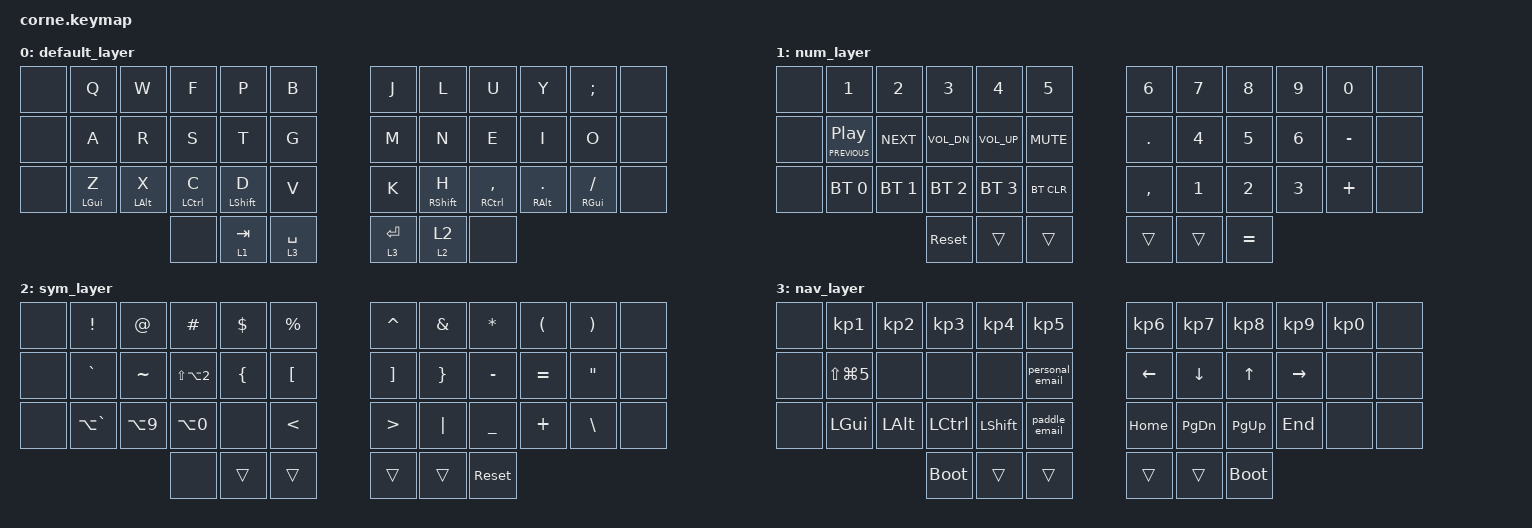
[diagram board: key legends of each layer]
/*
 * Copyright (c) 2020 The ZMK Contributors
 *
 * SPDX-License-Identifier: MIT
 */

#include <behaviors.dtsi>
#include <dt-bindings/zmk/bt.h>
#include <dt-bindings/zmk/keys.h>

&lt {
    quick-tap-ms = <200>;
    tapping-term-ms = <170>;
};

&caps_word {
};

/ {
    combos {
        compatible = "zmk,combos";

        combo_esc {
            bindings = <&kp ESCAPE>;
            key-positions = <15 14>;
            timeout-ms = <30>;
            layers = <0>;
        };

        combo_caps {
            bindings = <&kp CAPS>;
            key-positions = <28 31>;
            timeout-ms = <30>;
            layers = <0>;
        };

        combo_sqt {
            bindings = <&kp SQT>;
            key-positions = <8 7>;
            timeout-ms = <30>;
            layers = <0>;
        };

        combo_colon {
            bindings = <&kp COLON>;
            key-positions = <9 8>;
            timeout-ms = <30>;
            layers = <0>;
        };

        combo_caps_word {
            bindings = <&caps_word>;
            key-positions = <16 19>;
            timeout-ms = <30>;
        };

        combo_delete_word {
            bindings = <&kp LA(BACKSPACE)>;
            key-positions = <32 33>;
            timeout-ms = <30>;
        };

        combo_delete {
            bindings = <&kp DELETE>;
            key-positions = <34 33>;
            timeout-ms = <30>;
        };

        reset_layer {
            bindings = <&to 0>;
            key-positions = <14 15>;
            layers = <1 2 3>;
            timeout-ms = <30>;
        };

        combo_delete_line {
            bindings = <&kp LG(BACKSPACE)>;
            key-positions = <31 32>;
        };

        combo_backspace {
            bindings = <&kp BACKSPACE>;
            key-positions = <20 21>;
            timeout-ms = <30>;
        };

        combo_tab {
            bindings = <&kp TAB>;
            key-positions = <2 3>;
            timeout-ms = <30>;
        };
    };

    behaviors {
        brm: balanced_homerow_mods {
            compatible = "zmk,behavior-hold-tap";
            #binding-cells = <2>;
            tapping-term-ms = <170>;    // <---[[moderate duration]]
            quick-tap-ms = <200>;
            flavor = "balanced";
            bindings = <&kp>, <&kp>;
        };

        mo_tog: behavior_mo_tog {
            compatible = "zmk,behavior-hold-tap";
            label = "MO_TOG";
            bindings = <&mo>, <&tog>;

            #binding-cells = <2>;
            tapping-term-ms = <200>;
        };

        tog_sl: behavior_hold_tap {
            compatible = "zmk,behavior-hold-tap";
            label = "TOG_SL";
            bindings = <&tog>, <&sl>;

            #binding-cells = <2>;
            tapping-term-ms = <200>;
        };

        mo_sl: behavior_mo_sl {
            compatible = "zmk,behavior-hold-tap";
            label = "MO_SL";
            bindings = <&mo>, <&sl>;

            #binding-cells = <2>;
            tapping-term-ms = <200>;
            flavor = "tap-preferred";
        };
    };

    macros {
        personal_email: personal_email {
            compatible = "zmk,behavior-macro";
            #binding-cells = <0>;
            bindings = <&kp A &kp F &kp O &kp N &kp S &kp O &kp C &kp R &kp A &kp P &kp O &kp S &kp O &kp AT &kp G &kp M &kp A &kp I &kp L &kp DOT &kp C &kp O &kp M>;
            label = "PERSONAL_EMAIL";
        };

        paddle_email: paddle_email {
            compatible = "zmk,behavior-macro";
            #binding-cells = <0>;
            bindings = <&kp A &kp F &kp O &kp N &kp S &kp O &kp DOT &kp R &kp A &kp P &kp O &kp S &kp O &kp AT &kp P &kp A &kp D &kp D &kp L &kp E &kp DOT &kp C &kp O &kp M>;
            label = "PADDLE_EMAIL";
        };
    };

    keymap {
        compatible = "zmk,keymap";

        default_layer {
            // -----------------------------------------------------------------------------------------
            // |  TAB |  Q  |  W  |  E  |  R  |  T  |   |  Y  |  U   |  I  |  O  |  P  | BKSP |
            // | CTRL |  A  |  S  |  D  |  F  |  G  |   |  H  |  J   |  K  |  L  |  ;  |  '   |
            // | SHFT |  Z  |  X  |  C  |  V  |  B  |   |  N  |  M   |  ,  |  .  |  /  | ESC  |
            //                    | GUI | LWR | SPC |   | ENT | RSE  | ALT |

            bindings = <
&none  &kp Q            &kp W            &kp F                &kp P              &kp B          &kp J        &kp L               &kp U             &kp Y               &kp SEMICOLON         &none
&none  &kp A            &kp R            &kp S                &kp T              &kp G          &kp M        &kp N               &kp E             &kp I               &kp O                 &none
&none  &brm LEFT_GUI Z  &brm LEFT_ALT X  &brm LEFT_CONTROL C  &brm LEFT_SHIFT D  &kp V          &kp K        &brm RIGHT_SHIFT H  &brm RCTRL COMMA  &brm RIGHT_ALT DOT  &brm RIGHT_GUI SLASH  &none
                                         &none                &lt 1 TAB          &lt 3 SPACE    &lt 3 ENTER  &mo_sl 2 2          &none
            >;
        };

        num_layer {
            // -----------------------------------------------------------------------------------------
            // |  TAB |  1  |  2  |  3  |  4  |  5  |   |  6  |  7  |  8  |  9  |  0  | BKSP |
            // | BTCLR| BT1 | BT2 | BT3 | BT4 | BT5 |   | LFT | DWN |  UP | RGT |     |      |
            // | SHFT |     |     |     |     |     |   |     |     |     |     |     |      |
            //                    | GUI |     | SPC |   | ENT |     | ALT |

            bindings = <
&none  &kp N1                       &kp N2        &kp N3        &kp N4        &kp N5        &kp N6     &kp N7        &kp N8        &kp N9        &kp N0     &none
&none  &mt C_PREVIOUS C_PLAY_PAUSE  &kp C_NEXT    &kp C_VOL_DN  &kp C_VOL_UP  &kp K_MUTE    &kp DOT    &kp NUMBER_4  &kp N5        &kp NUMBER_6  &kp MINUS  &none
&none  &bt BT_SEL 0                 &bt BT_SEL 1  &bt BT_SEL 2  &bt BT_SEL 3  &bt BT_CLR    &kp COMMA  &kp NUMBER_1  &kp NUMBER_2  &kp NUMBER_3  &kp PLUS   &none
                                                  &sys_reset    &trans        &trans        &trans     &trans        &kp EQUAL
            >;
        };

        sym_layer {
            // -----------------------------------------------------------------------------------------
            // |  TAB |  !  |  @  |  #  |  $  |  %  |   |  ^  |  &  |  *  |  (  |  )  | BKSP |
            // | CTRL |     |     |     |     |     |   |  -  |  =  |  [  |  ]  |  \  |  `   |
            // | SHFT |     |     |     |     |     |   |  _  |  +  |  {  |  }  | "|" |  ~   |
            //                    | GUI |     | SPC |   | ENT |     | ALT |

            bindings = <
&none  &kp EXCL       &kp AT            &kp HASH              &kp DLLR        &kp PRCNT           &kp CARET          &kp AMPS         &kp ASTRK       &kp LPAR   &kp RPAR           &none
&none  &kp GRAVE      &kp TILDE         &kp LS(LA(NUMBER_2))  &kp LEFT_BRACE  &kp LEFT_BRACKET    &kp RIGHT_BRACKET  &kp RIGHT_BRACE  &kp MINUS       &kp EQUAL  &kp DOUBLE_QUOTES  &none
&none  &kp LA(GRAVE)  &kp LA(NUMBER_9)  &kp LA(NUMBER_0)      &none           &kp LESS_THAN       &kp GREATER_THAN   &kp PIPE         &kp UNDERSCORE  &kp PLUS   &kp BACKSLASH      &none
                                        &none                 &trans          &trans              &trans             &trans           &sys_reset
            >;
        };

        nav_layer {
            bindings = <
&none  &kp KP_NUMBER_1       &kp KP_NUMBER_2  &kp KP_NUMBER_3   &kp KP_NUMBER_4  &kp KP_NUMBER_5    &kp KP_NUMBER_6  &kp KP_NUMBER_7  &kp KP_NUMBER_8  &kp KP_NUMBER_9  &kp KP_NUMBER_0  &none
&none  &kp LS(LG(NUMBER_5))  &none            &none             &none            &personal_email    &kp LEFT         &kp DOWN         &kp UP           &kp RIGHT        &none            &none
&none  &kp LEFT_GUI          &kp LEFT_ALT     &kp LEFT_CONTROL  &kp LEFT_SHIFT   &paddle_email      &kp HOME         &kp PAGE_DOWN    &kp PAGE_UP      &kp END          &none            &none
                                              &bootloader       &trans           &trans             &trans           &trans           &bootloader
            >;
        };
    };
};
